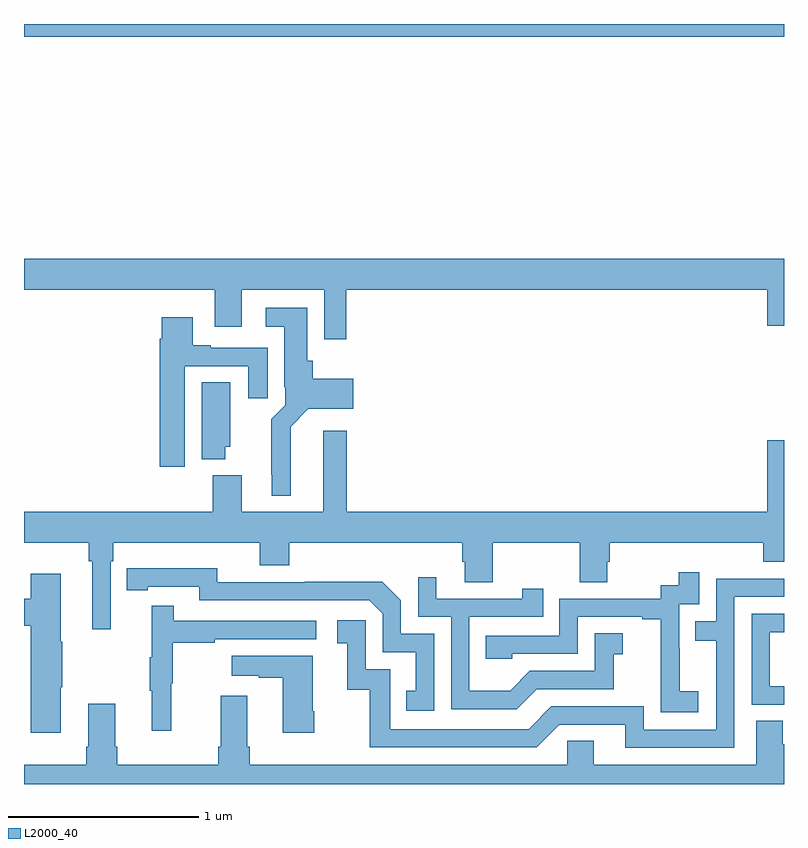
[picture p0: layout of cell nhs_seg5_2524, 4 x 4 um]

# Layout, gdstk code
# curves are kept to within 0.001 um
import gdstk
lib = gdstk.Library(unit=1e-6, precision=1e-09)
def R(c, l, rs):  # rectangles x0, y0, x1, y1
    for r in rs: c.add(gdstk.rectangle(r[:2], r[2:], *l))
def P(c, l, *ps):  # polygons
    for p in ps: c.add(gdstk.Polygon(p, *l))
L2000_40 = (2000, 40)

nhs_seg5_2524 = lib.new_cell('nhs_seg5_2524')
R(nhs_seg5_2524, L2000_40, [(257,884.732,261,884.799)])
P(nhs_seg5_2524, L2000_40, [(258.695,883.4),(260.912,883.4),(260.912,883.212),(261,883.212),(261,883.564),(257,883.564),(257,883.4),(258.005,883.4),(258.005,883.206),(258.145,883.206),(258.145,883.4),(258.579,883.4),(258.579,883.14),(258.695,883.14)],
  [(258.403,882.68),(258.495,882.773),(258.733,882.773),(258.733,882.931),(258.521,882.931),(258.521,883.026),(258.49,883.026),(258.49,883.306),(258.273,883.306),(258.273,883.205),(258.371,883.205),(258.371,882.886),(258.375,882.886),(258.375,882.792),(258.301,882.718),(258.301,882.427),(258.305,882.427),(258.305,882.317),(258.403,882.317)],
  [(257.845,882.999),(258.179,882.999),(258.179,882.828),(258.283,882.828),(258.283,883.095),(257.983,883.095),(257.983,883.108),(257.887,883.108),(257.887,883.255),(257.726,883.255),(257.726,883.142),(257.714,883.142),(257.714,882.468),(257.845,882.468)],
  [(258.058,882.573),(258.085,882.573),(258.085,882.914),(257.936,882.914),(257.936,882.509),(258.058,882.509)],
  [(257.457,881.972),(257.471,881.972),(257.471,882.068),(258.242,882.068),(258.242,881.951),(258.395,881.951),(258.395,882.068),(259.307,882.068),(259.307,881.97),(259.319,881.97),(259.319,881.86),(259.467,881.86),(259.467,882.068),(259.924,882.068),(259.924,881.86),(260.071,881.86),(260.071,881.97),(260.084,881.97),(260.084,882.068),(260.891,882.068),(260.891,881.969),(261,881.969),(261,882.607),(260.912,882.607),(260.912,882.232),(258.698,882.232),(258.698,882.658),(258.575,882.658),(258.575,882.232),(258.145,882.232),(258.145,882.424),(257.993,882.424),(257.993,882.232),(257,882.232),(257,882.068),(257.341,882.068),(257.341,881.972),(257.36,881.972),(257.36,881.613),(257.457,881.613)],
  [(259.158,881.589),(258.984,881.589),(258.984,881.766),(258.886,881.864),(258.478,881.864),(258.478,881.862),(258.018,881.862),(258.018,881.935),(257.542,881.934),(257.542,881.818),(257.65,881.818),(257.65,881.838),(257.922,881.838),(257.922,881.766),(258.816,881.766),(258.888,881.694),(258.888,881.493),(259.061,881.493),(259.061,881.289),(259.012,881.289),(259.012,881.184),(259.158,881.184)],
  [(260.548,881.287),(260.45,881.287),(260.45,881.516),(260.448,881.516),(260.448,881.745),(260.553,881.745),(260.553,881.914),(260.445,881.914),(260.445,881.844),(260.352,881.844),(260.352,881.775),(259.818,881.775),(259.818,881.58),(259.429,881.58),(259.429,881.457),(259.569,881.457),(259.569,881.484),(259.914,881.484),(259.914,881.679),(260.255,881.679),(260.255,881.667),(260.351,881.667),(260.351,881.383),(260.35,881.383),(260.35,881.177),(260.548,881.177)],
  [(257.194,881.308),(257.202,881.308),(257.202,881.549),(257.194,881.549),(257.194,881.905),(257.036,881.905),(257.036,881.775),(257,881.775),(257,881.633),(257.036,881.633),(257.036,881.07),(257.194,881.07)],
  [(259.699,881.298),(260.103,881.298),(260.103,881.483),(260.152,881.483),(260.152,881.593),(260.004,881.593),(260.004,881.394),(259.662,881.394),(259.558,881.29),(259.344,881.29),(259.344,881.679),(259.733,881.679),(259.733,881.827),(259.622,881.827),(259.622,881.775),(259.171,881.775),(259.171,881.887),(259.074,881.887),(259.074,881.679),(259.248,881.679),(259.248,881.193),(259.594,881.193)],
  [(260.739,881.784),(261,881.784),(261,881.88),(260.643,881.88),(260.643,881.655),(260.533,881.655),(260.533,881.554),(260.643,881.554),(260.643,881.085),(260.262,881.085),(260.262,881.208),(259.776,881.208),(259.656,881.088),(258.927,881.088),(258.927,881.403),(258.798,881.403),(258.798,881.662),(258.648,881.662),(258.648,881.541),(258.701,881.541),(258.701,881.295),(258.819,881.295),(258.819,880.992),(259.698,880.992),(259.818,881.112),(260.165,881.112),(260.165,880.989),(260.739,880.989)],
  [(257.774,881.328),(257.782,881.328),(257.782,881.542),(258.005,881.542),(258.005,881.562),(258.538,881.562),(258.538,881.658),(257.789,881.658),(257.789,881.737),(257.672,881.737),(257.672,881.465),(257.661,881.465),(257.661,881.291),(257.672,881.291),(257.672,881.079),(257.774,881.079)],
  [(261,881.313),(260.925,881.313),(260.925,881.598),(261,881.598),(261,881.694),(260.829,881.694),(260.829,881.217),(261,881.217)],
  [(258.528,881.182),(258.52,881.182),(258.52,881.473),(258.093,881.473),(258.093,881.369),(258.236,881.369),(258.236,881.359),(258.362,881.359),(258.362,881.07),(258.528,881.07)],
  [(261,881.009),(260.994,881.009),(260.994,881.132),(260.855,881.132),(260.855,880.9),(259.999,880.9),(259.999,881.027),(259.86,881.027),(259.86,880.9),(258.188,880.9),(258.188,880.996),(258.175,880.996),(258.175,881.263),(258.035,881.263),(258.035,880.996),(258.023,880.996),(258.023,880.9),(257.492,880.9),(257.492,880.996),(257.479,880.996),(257.479,881.221),(257.339,881.221),(257.339,880.996),(257.327,880.996),(257.327,880.9),(257,880.9),(257,880.799),(261,880.799)])

lib.write_gds('nhs_seg5_2524.gds')
